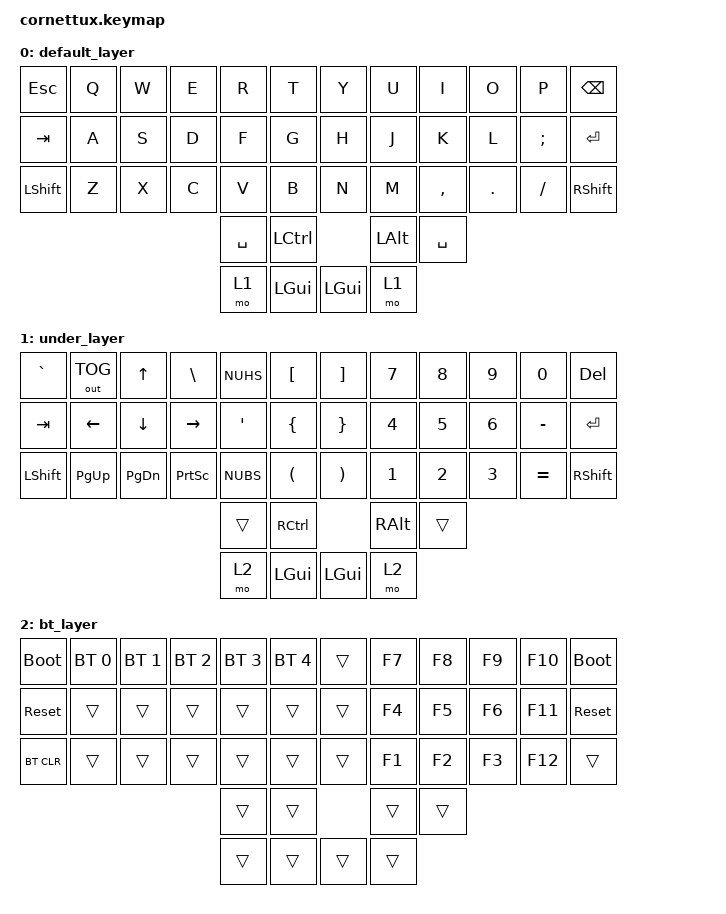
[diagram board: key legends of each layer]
#include <behaviors.dtsi>
#include <dt-bindings/zmk/keys.h>
#include <dt-bindings/zmk/bt.h>
#include <dt-bindings/zmk/outputs.h>

/ {
    keymap {
        compatible = "zmk,keymap";

        default_layer {
            bindings = <
                &kp ESC   &kp Q  &kp W  &kp E  &kp R  &kp T &kp Y    &kp U  &kp I &kp O &kp P &kp BSPC
                &kp TAB   &kp A  &kp S  &kp D  &kp F  &kp G &kp H    &kp J  &kp K &kp L &kp SEMI &kp ENTER
                &kp LSHFT &kp Z  &kp X  &kp C  &kp V  &kp B &kp N    &kp M  &kp COMMA &kp DOT &kp SLASH &kp RSHFT
                                               &kp SPACE  &kp LCTRL &kp LALT &kp SPACE
                                               &mo 1  &kp LGUI &kp LGUI &mo 1
            >;
        };

        under_layer {
            bindings = <
                &kp GRAVE   &out OUT_TOG  &kp UP &kp BSLH  &kp NUHS  &kp LBKT &kp RBKT    &kp N7  &kp N8 &kp N9 &kp N0 &kp DEL
                &kp TAB   &kp LEFT  &kp DOWN  &kp RIGHT  &kp APOS  &kp LBRC &kp RBRC    &kp N4  &kp N5 &kp N6 &kp MINUS &kp ENTER
                &kp LSHFT &kp PG_UP  &kp PG_DN  &kp PSCRN  &kp NUBS  &kp LPAR &kp RPAR    &kp N1  &kp N2 &kp N3 &kp EQUAL &kp RSHFT
                                               &trans  &kp RCTRL &kp RALT &trans
                                               &mo 2  &kp LGUI &kp LGUI &mo 2
            >;
        };

        bt_layer {
            bindings = <
                &bootloader &bt BT_SEL 0 &bt BT_SEL 1 &bt BT_SEL 2 &bt BT_SEL 3 &bt BT_SEL 4 &trans      &kp F7 &kp F8 &kp F9 &kp F10 &bootloader
                &sys_reset  &trans       &trans       &trans       &trans       &trans       &trans      &kp F4 &kp F5 &kp F6 &kp F11 &sys_reset
                &bt BT_CLR      &trans       &trans       &trans       &trans       &trans       &trans      &kp F1 &kp F2 &kp F3 &kp F12 &trans
                                                                   &trans       &trans       &trans      &trans
                                                                   &trans       &trans       &trans      &trans
            >;
        };
    };
};
